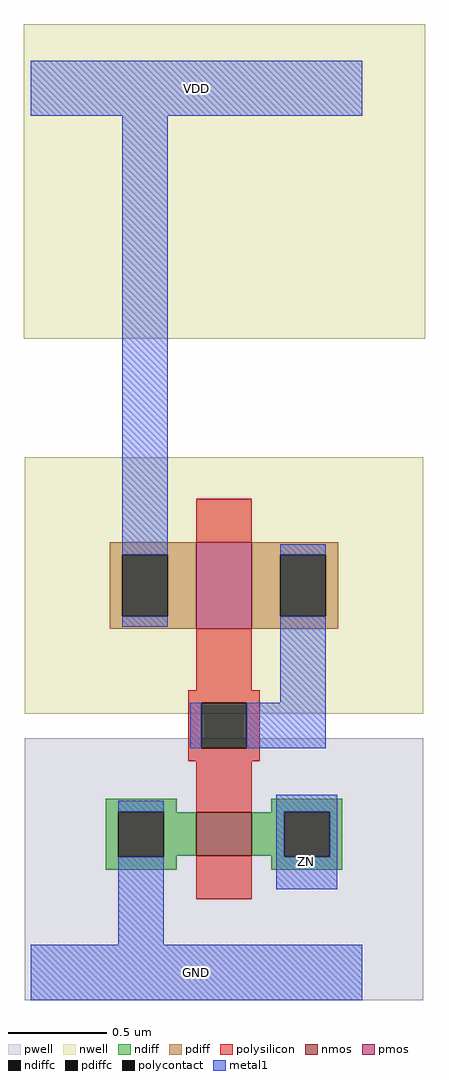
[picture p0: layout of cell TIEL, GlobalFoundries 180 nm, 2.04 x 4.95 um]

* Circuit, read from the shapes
.subckt TIEL VDD GND ZN
XM1 ZN n1 GND VSUBS nfet_03v3 w=0.22u l=0.28u
XM2 n1 n1 VDD n2 pfet_03v3 w=0.44u l=0.28u
.ends

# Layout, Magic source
magic
tech gf180mcuC
magscale 1 10
<< nwell >>
rect -7 642 400 961
rect -6 262 398 522
<< pwell >>
rect -6 -28 398 237
<< nmos >>
rect 168 118 224 162
<< pmos >>
rect 168 348 224 436
<< ndiff >>
rect 76 163 148 176
rect 76 117 89 163
rect 135 162 148 163
rect 244 163 316 176
rect 244 162 257 163
rect 135 118 168 162
rect 224 118 257 162
rect 135 117 148 118
rect 76 104 148 117
rect 244 117 257 118
rect 303 117 316 163
rect 244 104 316 117
<< pdiff >>
rect 80 423 168 436
rect 80 361 93 423
rect 139 361 168 423
rect 80 348 168 361
rect 224 423 312 436
rect 224 361 253 423
rect 299 361 312 423
rect 224 348 312 361
<< ndiffc >>
rect 89 117 135 163
rect 257 117 303 163
<< pdiffc >>
rect 93 361 139 423
rect 253 361 299 423
<< polysilicon >>
rect 168 436 224 480
rect 168 286 224 348
rect 160 273 232 286
rect 160 227 173 273
rect 219 227 232 273
rect 160 214 232 227
rect 168 162 224 214
rect 168 74 224 118
<< polycontact >>
rect 173 227 219 273
<< metal1 >>
rect 0 868 336 924
rect 93 423 139 868
rect 93 350 139 361
rect 253 423 299 434
rect 253 273 299 361
rect 162 227 173 273
rect 219 227 299 273
rect 89 163 135 174
rect 89 28 135 117
rect 249 163 311 180
rect 249 117 257 163
rect 303 117 311 163
rect 249 84 311 117
rect 0 -28 336 28
<< labels >>
rlabel metal1 252 84 308 140 0 ZN
port 7 nsew signal output
rlabel metal1 0 -28 336 28 0 GND
port 6 nsew ground bidirectional
rlabel metal1 0 868 336 924 0 VDD
port 5 nsew power bidirectional
<< properties >>
string FIXED_BBOX 0 0 336 896
string LEFclass core
string LEFsite site056um
<< end >>
